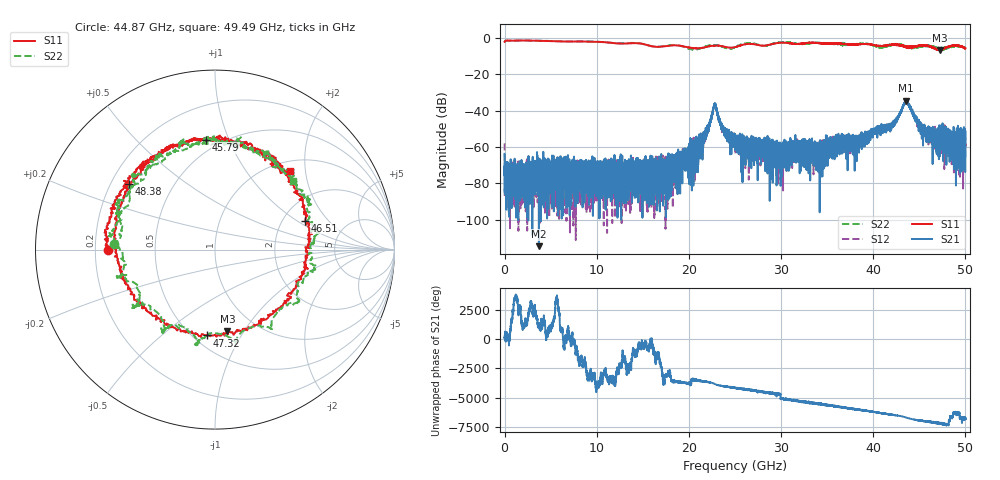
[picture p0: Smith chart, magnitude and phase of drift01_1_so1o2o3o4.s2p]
!Created with skrf (http://scikit-rf.org).
# Hz S RI R 50.0
!freq ReS11 ImS11 ReS21 ImS21 ReS12 ImS12 ReS22 ImS22
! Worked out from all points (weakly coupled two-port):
!   10001 points, 300 kHz to 50 GHz, reference 50 ohm
!   highest |S21| = -34.46 dB at 43.56 GHz (marker M1); lowest = -114.5 dB at 3.72 GHz (marker M2)
!   lowest |S11| = -6.7 dB at 47.21 GHz (marker M3), VSWR 2.71, Z = 36.6 - j42.4 ohm
!   |S11| at or under -10 dB: nowhere
!   |S22| runs from -6.7 to -1.4 dB; largest |S21 - S12| = 0.0039
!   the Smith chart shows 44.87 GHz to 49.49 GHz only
!   S11 on the Smith chart (normalised r, x): 44.87 GHz: 0.25, -0.00; 45.79 GHz: 0.42, +0.83; 46.51 GHz: 2.64, +1.19; 47.32 GHz: 0.58, -0.72; 48.38 GHz: 0.28, +0.32; 49.49 GHz: 1.19, +1.65
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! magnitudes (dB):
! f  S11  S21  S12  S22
! 300 kHz  -2.1  -63.7  -57.9  -2.1
! 255.3 MHz  -1.4  -77.6  -72.0  -1.4
! 460.3 MHz  -1.4  -93.1  -74.6  -1.4
! 3.72 GHz  -1.6  -114.5  -74.8  -1.5
! 8.335 GHz  -1.9  -69.8  -74.4  -1.8
! 16.67 GHz  -4.9  -76.6  -71.3  -4.8
! 20.71 GHz  -5.7  -67.2  -62.1  -6.3
! 22.8 GHz  -4.3  -36.0  -36.3  -4.0
! 23.69 GHz  -4.6  -49.9  -50.7  -5.0
! 25 GHz  -5.0  -53.7  -59.0  -5.2
! 29.87 GHz  -2.7  -60.5  -64.2  -2.4
! 33.34 GHz  -2.6  -59.8  -60.1  -2.6
! 41.67 GHz  -3.9  -49.9  -48.9  -4.5
! 43.56 GHz  -5.1  -34.5  -35.3  -4.7
! 44.87 GHz  -4.5  -48.4  -46.1  -5.0
! 45.79 GHz  -4.3  -57.3  -53.0  -4.3
! 46.51 GHz  -5.5  -53.1  -52.6  -5.0
! 47.21 GHz  -6.7  -50.0  -51.9  -5.9
! 47.32 GHz  -6.4  -59.1  -53.1  -6.6
! 48.38 GHz  -4.4  -55.5  -63.0  -4.7
! 49.49 GHz  -4.3  -52.4  -54.7  -4.7
! 50 GHz  -5.6  -55.7  -65.6  -5.4
